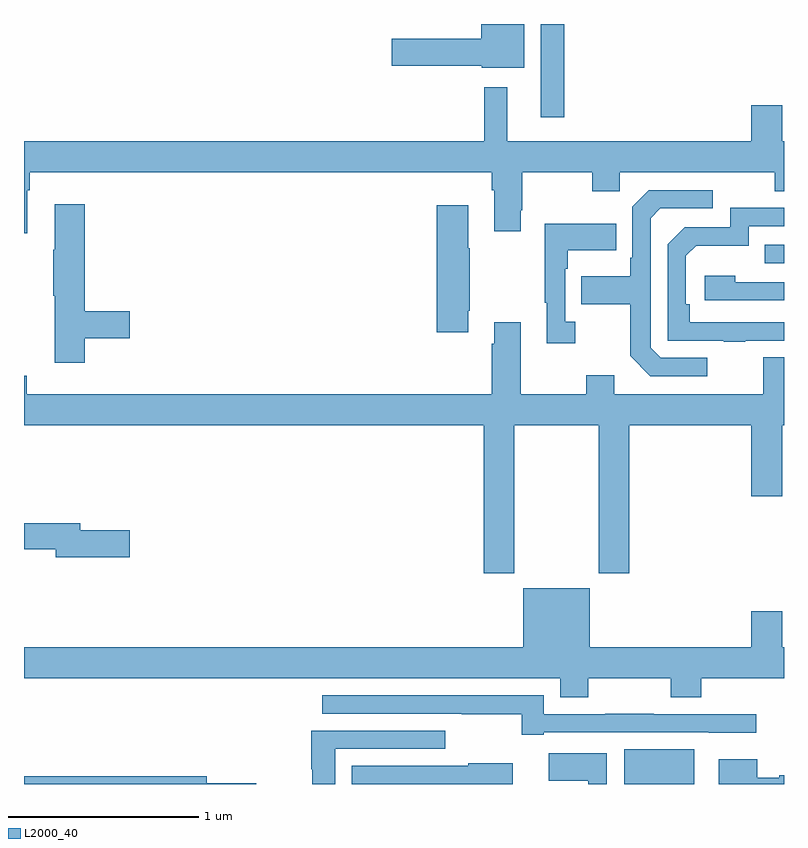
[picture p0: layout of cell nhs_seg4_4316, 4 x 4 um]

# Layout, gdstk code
import gdstk
lib = gdstk.Library(unit=1e-6, precision=1e-09)
def R(c, l, rs):  # rectangles x0, y0, x1, y1
    for r in rs: c.add(gdstk.rectangle(r[:2], r[2:], *l))
def P(c, l, *ps):  # polygons
    for p in ps: c.add(gdstk.Polygon(p, *l))
L2000_40 = (2000, 40)

nhs_seg4_4316 = lib.new_cell('nhs_seg4_4316')
R(nhs_seg4_4316, L2000_40, [(344.159,826.9,344.527,827.083), (344.899,829.641,345,829.737), (343.721,830.409,343.843,830.9)])
P(nhs_seg4_4316, L2000_40, [(343.633,830.9),(343.406,830.9),(343.406,830.822),(342.936,830.822),(342.936,830.68),(343.41,830.68),(343.41,830.669),(343.633,830.669)],
  [(341.017,830.024),(341.03,830.024),(341.03,830.12),(343.463,830.12),(343.463,830.024),(343.475,830.024),(343.475,829.809),(343.615,829.809),(343.615,829.921),(343.623,829.921),(343.623,830.12),(343.99,830.12),(343.99,830.021),(344.136,830.021),(344.136,830.12),(344.95,830.12),(344.95,830.021),(345,830.021),(345,830.284),(344.992,830.284),(344.992,830.473),(344.828,830.473),(344.828,830.284),(343.543,830.284),(343.543,830.566),(343.422,830.566),(343.422,830.284),(341,830.284),(341,829.8),(341.017,829.8)],
  [(344.596,829.143),(344.352,829.143),(344.298,829.197),(344.298,829.878),(344.349,829.929),(344.626,829.929),(344.626,830.025),(344.289,830.025),(344.202,829.938),(344.202,829.669),(344.19,829.669),(344.19,829.573),(343.933,829.573),(343.933,829.426),(344.19,829.426),(344.19,829.153),(344.295,829.047),(344.596,829.047)],
  [(341.321,829.246),(341.557,829.246),(341.557,829.388),(341.321,829.388),(341.321,829.951),(341.162,829.951),(341.162,829.712),(341.155,829.712),(341.155,829.471),(341.162,829.471),(341.162,829.116),(341.321,829.116)],
  [(343.339,829.39),(343.347,829.39),(343.347,829.721),(343.339,829.721),(343.339,829.945),(343.172,829.945),(343.172,829.278),(343.339,829.278)],
  [(344.795,829.233),(345,829.233),(345,829.329),(344.504,829.329),(344.504,829.426),(344.484,829.426),(344.484,829.68),(344.537,829.733),(344.814,829.733),(344.814,829.836),(345,829.836),(345,829.932),(344.718,829.932),(344.718,829.83),(344.478,829.83),(344.388,829.74),(344.388,829.233),(344.683,829.233),(344.683,829.228),(344.795,829.228)],
  [(343.9,829.334),(343.848,829.334),(343.848,829.613),(343.861,829.613),(343.861,829.709),(344.117,829.709),(344.117,829.849),(343.74,829.849),(343.74,829.433),(343.751,829.433),(343.751,829.221),(343.9,829.221)],
  [(345,829.542),(344.744,829.542),(344.744,829.576),(344.583,829.576),(344.583,829.446),(345,829.446)],
  [(343.581,828.788),(344.026,828.788),(344.026,828.009),(344.186,828.009),(344.186,828.788),(344.828,828.788),(344.828,828.414),(344.992,828.414),(344.992,828.788),(345,828.788),(345,829.147),(344.891,829.147),(344.891,828.952),(344.107,828.952),(344.107,829.051),(343.96,829.051),(343.96,828.952),(343.615,828.952),(343.615,829.33),(343.475,829.33),(343.475,829.217),(343.463,829.217),(343.463,828.952),(341.015,828.952),(341.015,829.048),(341,829.048),(341,828.788),(343.421,828.788),(343.421,828.009),(343.581,828.009)],
  [(341.557,828.236),(341.296,828.236),(341.296,828.272),(341,828.272),(341,828.136),(341.168,828.136),(341.168,828.094),(341.557,828.094)],
  [(343.971,827.456),(344.404,827.456),(344.404,827.357),(344.564,827.357),(344.564,827.456),(345,827.456),(345,827.62),(344.992,827.62),(344.992,827.809),(344.828,827.809),(344.828,827.62),(343.978,827.62),(343.978,827.929),(343.628,827.929),(343.628,827.62),(341,827.62),(341,827.456),(343.823,827.456),(343.823,827.357),(343.971,827.357)],
  [(343.735,827.172),(344.605,827.172),(344.605,827.171),(344.854,827.171),(344.854,827.268),(344.315,827.268),(344.315,827.27),(344.059,827.27),(344.059,827.268),(343.735,827.268),(343.735,827.367),(342.57,827.367),(342.57,827.271),(343.303,827.271),(343.303,827.266),(343.621,827.266),(343.621,827.16),(343.735,827.16)],
  [(342.637,827.085),(343.216,827.085),(343.216,827.181),(342.512,827.181),(342.512,826.978),(342.517,826.978),(342.517,826.9),(342.637,826.9)],
  [(344.067,827.062),(343.761,827.062),(343.761,826.916),(343.97,826.916),(343.97,826.9),(344.067,826.9)],
  [(345,826.946),(344.976,826.946),(344.976,826.933),(344.86,826.933),(344.86,827.029),(344.657,827.029),(344.657,826.9),(345,826.9)],
  [(343.573,827.008),(343.337,827.008),(343.337,826.995),(342.725,826.995),(342.725,826.9),(343.573,826.9)],
  [(342.223,826.904),(341.962,826.904),(341.962,826.94),(341,826.94),(341,826.9),(342.223,826.9)])

lib.write_gds('nhs_seg4_4316.gds')
